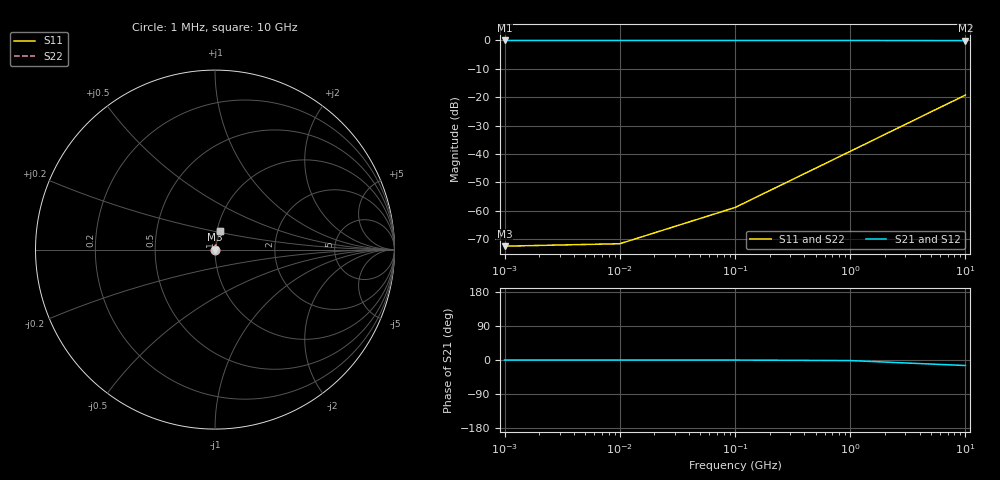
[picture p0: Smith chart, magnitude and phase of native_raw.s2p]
! Sonnet Data File
! From: em Version : 18.53-Lite
! From Project: project
! Data is NOT De-embedded
! Data File Written: 10/07/2026 06:25:47
!< HDATE 10/07/2026 06:25:47
!< MDATE 10/07/2026 06:25:47
# GHZ S RI R 50.00000
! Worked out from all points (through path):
!   5 points, 1 MHz to 10 GHz, reference 50 ohm
!   highest |S21| = 0.00 dB at 1 MHz (marker M1); lowest = -0.1 dB at 10 GHz (marker M2)
!   lowest |S11| = -72.6 dB at 1 MHz (marker M3), VSWR 1.00, Z = 50 + j0.00112 ohm
!   |S11| at or under -10 dB: start of sweep to end of sweep
!   |S22| runs from -72.6 to -19.3 dB; largest |S21 - S12| = 1e-12
0.001  0.000235 1.12e-05  0.9998 -2.57e-05  0.9998 -2.57e-05  0.000235 1.12e-05
0.01  0.000236 0.000111  0.9998 -0.000256  0.9998 -0.000256  0.000236 0.000111
0.1  0.000238 0.00111  0.9998 -0.00256  0.9998 -0.00256  0.000238 0.00111
1  0.000522 0.0111  0.9994 -0.0256  0.9994 -0.0256  0.000522 0.0111
10  0.0279 0.1053  0.9615 -0.2504  0.9615 -0.2504  0.0279 0.1053
